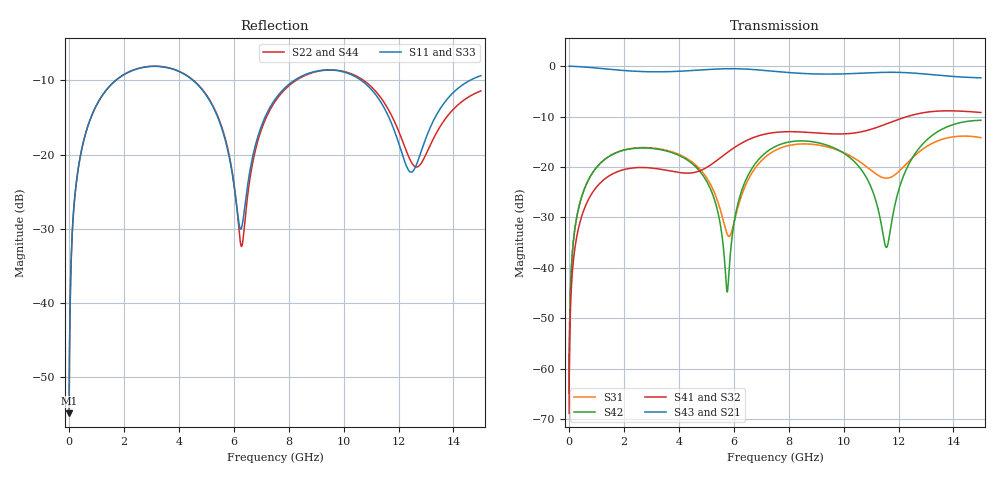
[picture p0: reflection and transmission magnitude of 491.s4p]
! Created with skrf 1.8.0 (http://scikit-rf.org).
# GHz S RI R 50.0
!freq ReS11 ImS11 ReS12 ImS12 ReS13 ImS13
! ReS14 ImS14
! ReS21 ImS21 ReS22 ImS22 ReS23 ImS23
! ReS24 ImS24
! ReS31 ImS31 ReS32 ImS32 ReS33 ImS33
! ReS34 ImS34
! ReS41 ImS41 ReS42 ImS42 ReS43 ImS43
! ReS44 ImS44
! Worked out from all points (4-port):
!   2499 points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, 5 MHz to 15 GHz, reference 50 ohm
!   strongest paths, dB at 5 MHz, 3.476 GHz, 7.19 GHz, 11.1 GHz, 15 GHz:
!     S43: 0.0, -1.1, -0.9, -1.3, -2.3
!     S21: 0.0, -1.1, -0.9, -1.3, -2.3
!     S41: -68.9, -20.6, -13.4, -12.4, -9.2
!     S32: -68.9, -20.7, -13.4, -12.4, -9.3
!     S42: -64.9, -16.7, -17.1, -25.4, -10.7
!     S31: -64.9, -16.6, -17.9, -21.1, -14.2
!   lowest |S11| = -54.9 dB at 5 MHz (marker M1), VSWR 1.00, Z = 50.1 + j0.109 ohm
!   |S11| at or under -10 dB: start of sweep to 1.701 GHz; 4.521 GHz to 8.2 GHz (3.679 GHz wide, 57.8 % of centre); 10.65 GHz to 14.6 GHz (3.95 GHz wide, 31.3 % of centre)
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0.005  0.00143 0.00109  0.9985 -0.00279  7.13e-05 0.000563  -6.93e-05 -0.000354
       0.9985 -0.00279  0.00143 0.00109  -6.93e-05 -0.000354  7.12e-05 0.000563
       7.13e-05 0.000563  -6.93e-05 -0.000354  0.00143 0.00109  0.9985 -0.00279
       -6.93e-05 -0.000354  7.12e-05 0.000563  0.9985 -0.00279  0.00143 0.00109
0.3126303  0.0192 0.0725  0.9739 -0.1746  0.00859 0.0339  -0.00713 -0.0212
           0.9739 -0.1746  0.0192 0.0725  -0.00712 -0.0212  0.00848 0.0339
           0.00859 0.0339  -0.00712 -0.0212  0.0192 0.0725  0.9739 -0.1746
           -0.00713 -0.0212  0.00848 0.0339  0.9739 -0.1746  0.0192 0.0725
1.569404  0.233 0.19  0.6257 -0.6812  0.1135 0.0688  -0.0828 -0.0182
          0.6257 -0.6812  0.2335 0.1897  -0.0827 -0.0184  0.1117 0.0708
          0.1135 0.0688  -0.0827 -0.0184  0.233 0.1899  0.6257 -0.6812
          -0.0828 -0.0182  0.1117 0.0708  0.6257 -0.6812  0.2334 0.1898
5.764902  0.0546 -0.096  -0.8903 -0.3082  -0.0196 -0.0087  -0.0394 0.1332
          -0.8903 -0.3082  0.0494 -0.1019  -0.0428 0.1321  0.00571 0.000774
          -0.0196 -0.0087  -0.0428 0.1321  0.0533 -0.0957  -0.8905 -0.3079
          -0.0394 0.1332  0.00571 0.000774  -0.8905 -0.3079  0.0501 -0.1009
9.722801  0.3674 -0.0404  0.0117 0.8344  0.1198 -0.0886  0.2022 -0.0649
          0.0117 0.8344  0.3697 -0.0304  0.2025 -0.0562  0.1254 -0.0845
          0.1198 -0.0886  0.2025 -0.0562  0.3693 -0.0413  0.0115 0.8341
          0.2022 -0.0649  0.1254 -0.0845  0.0115 0.8341  0.3692 -0.0293
11.56107  0.1399 -0.1333  0.6834 0.5351  -0.069 -0.0351  0.1557 -0.2171
          0.6834 0.5351  0.155 -0.1446  0.1659 -0.2095  -0.0157 -0.0024
          -0.069 -0.0351  0.1659 -0.2095  0.1382 -0.1336  0.6833 0.5353
          0.1557 -0.2171  -0.0157 -0.0024  0.6833 0.5353  0.1555 -0.1437
15  0.3358 0.0582  0.4081 -0.65  0.1866 0.0577  -0.3329 -0.0975
    0.4081 -0.65  0.262 0.0604  -0.3219 -0.1135  0.2809 -0.0726
    0.1866 0.0577  -0.3219 -0.1135  0.3471 0.0598  0.407 -0.6481
    -0.3329 -0.0975  0.2809 -0.0726  0.407 -0.6481  0.2592 0.0679
